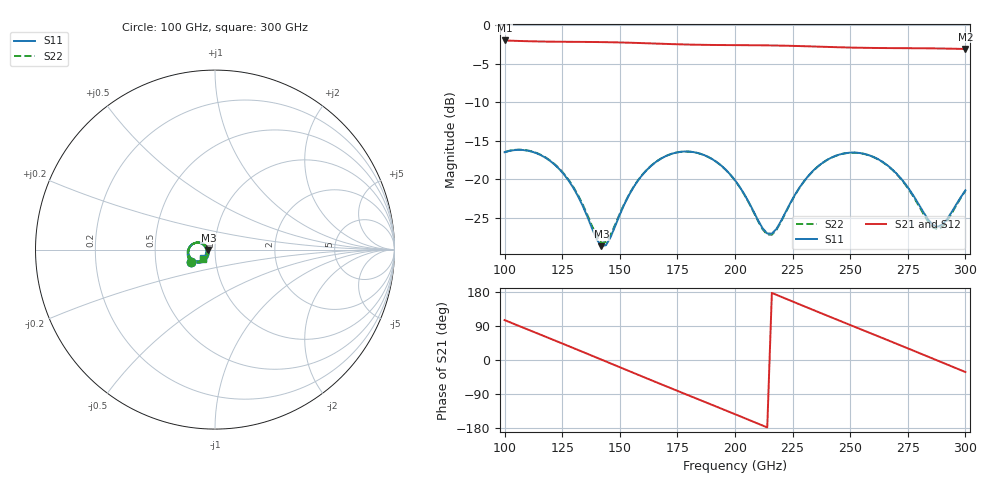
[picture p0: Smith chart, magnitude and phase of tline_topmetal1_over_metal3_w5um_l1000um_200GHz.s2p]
#  GHZ S DB R 50
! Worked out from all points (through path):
!   101 points, 100 GHz to 300 GHz, reference 50 ohm
!   highest |S21| = -1.99 dB at 100 GHz (marker M1); lowest = -3.1 dB at 300 GHz (marker M2)
!   group delay of S21, straight-line fit = 6.9 ps
!   lowest |S11| = -28.7 dB at 142 GHz (marker M3), VSWR 1.08, Z = 46.5 - j0.253 ohm
!   |S11| at or under -10 dB: start of sweep to end of sweep
!   |S22| runs from -28.2 to -16.2 dB; largest |S21 - S12| = 0
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100  -16.49 -153.2  -1.99 105.3  -1.99 105.3  -16.47 -152.9
108  -16.21 -169.5  -2.07 85.5  -2.07 85.5  -16.18 -169.1
116  -16.91 174.8  -2.13 65.8  -2.13 65.8  -16.87 175.3
126  -19.46 158.1  -2.16 41.1  -2.16 41.1  -19.38 158.9
134  -23.52 153.2  -2.18 21.2  -2.18 21.2  -23.34 154.3
142  -28.69 -175.8  -2.20 1.1  -2.20 1.1  -28.24 -176.0
146  -27.52 -147.0  -2.22 -9.0  -2.22 -9.0  -27.22 -148.7
154  -22.05 -132.4  -2.28 -29.1  -2.28 -29.1  -21.99 -133.7
168  -17.30 -150.5  -2.42 -64.1  -2.42 -64.1  -17.29 -151.2
176  -16.46 -165.0  -2.49 -83.9  -2.49 -83.9  -16.46 -165.5
184  -16.60 -179.6  -2.55 -103.5  -2.55 -103.5  -16.61 179.9
200  -20.13 156.8  -2.60 -143.0  -2.60 -143.0  -20.16 156.3
212  -26.37 170.8  -2.62 -173.0  -2.62 -173.0  -26.50 170.5
216  -27.06 -166.6  -2.64 177.0  -2.64 177.0  -27.21 -166.5
224  -23.09 -140.2  -2.69 156.9  -2.69 156.9  -23.14 -139.8
234  -18.87 -145.0  -2.77 131.9  -2.77 131.9  -18.89 -144.7
250  -16.55 -170.2  -2.91 92.4  -2.91 92.4  -16.56 -170.1
258  -16.86 176.3  -2.95 72.7  -2.95 72.7  -16.88 176.3
268  -18.65 161.7  -2.98 48.1  -2.98 48.1  -18.70 161.5
278  -22.39 156.8  -3.00 23.3  -3.00 23.3  -22.53 156.4
288  -26.16 -173.6  -3.03 -1.7  -3.03 -1.7  -26.50 -172.6
300  -21.44 -144.8  -3.10 -31.7  -3.10 -31.7  -21.50 -142.8
